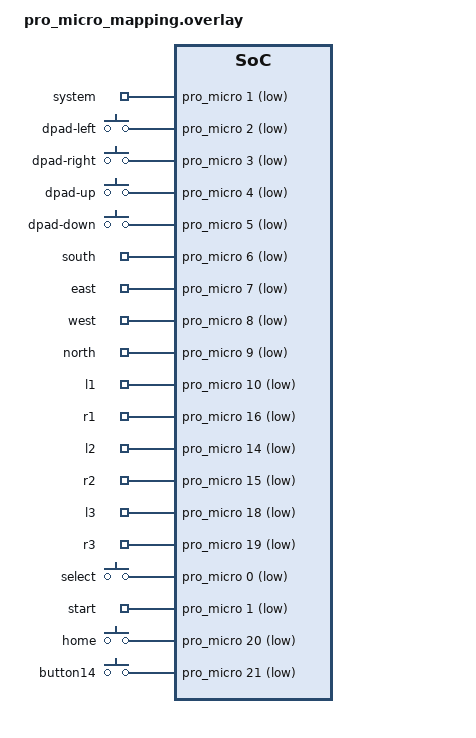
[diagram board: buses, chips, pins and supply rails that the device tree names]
/ {
    gamepad-buttons {
        compatible = "gpio-keys";
        /* same as start */
        system { gpios = <&pro_micro 1 (GPIO_PULL_UP | GPIO_ACTIVE_LOW)>; };
        // order of pins on Arduino Pro Micro, starting top left and going counter-clockwise:
        // 1 0 2 3 4 5 6 7 8 9
        // 10 16 14 15 18 19 20 21
        dpad-left { gpios = <&pro_micro 2 (GPIO_PULL_UP | GPIO_ACTIVE_LOW)>; };
        dpad-right { gpios = <&pro_micro 3 (GPIO_PULL_UP | GPIO_ACTIVE_LOW)>; };
        dpad-up { gpios = <&pro_micro 4 (GPIO_PULL_UP | GPIO_ACTIVE_LOW)>; };
        dpad-down { gpios = <&pro_micro 5 (GPIO_PULL_UP | GPIO_ACTIVE_LOW)>; };
        south { gpios = <&pro_micro 6 (GPIO_PULL_UP | GPIO_ACTIVE_LOW)>; };
        east { gpios = <&pro_micro 7 (GPIO_PULL_UP | GPIO_ACTIVE_LOW)>; };
        west { gpios = <&pro_micro 8 (GPIO_PULL_UP | GPIO_ACTIVE_LOW)>; };
        north { gpios = <&pro_micro 9 (GPIO_PULL_UP | GPIO_ACTIVE_LOW)>; };
        l1 { gpios = <&pro_micro 10 (GPIO_PULL_UP | GPIO_ACTIVE_LOW)>; };
        r1 { gpios = <&pro_micro 16 (GPIO_PULL_UP | GPIO_ACTIVE_LOW)>; };
        l2 { gpios = <&pro_micro 14 (GPIO_PULL_UP | GPIO_ACTIVE_LOW)>; };
        r2 { gpios = <&pro_micro 15 (GPIO_PULL_UP | GPIO_ACTIVE_LOW)>; };
        l3 { gpios = <&pro_micro 18 (GPIO_PULL_UP | GPIO_ACTIVE_LOW)>; };
        r3 { gpios = <&pro_micro 19 (GPIO_PULL_UP | GPIO_ACTIVE_LOW)>; };
        select { gpios = <&pro_micro 0 (GPIO_PULL_UP | GPIO_ACTIVE_LOW)>; };
        start { gpios = <&pro_micro 1 (GPIO_PULL_UP | GPIO_ACTIVE_LOW)>; };
        home { gpios = <&pro_micro 20 (GPIO_PULL_UP | GPIO_ACTIVE_LOW)>; };
        button14 { gpios = <&pro_micro 21 (GPIO_PULL_UP | GPIO_ACTIVE_LOW)>; };
    };
};
